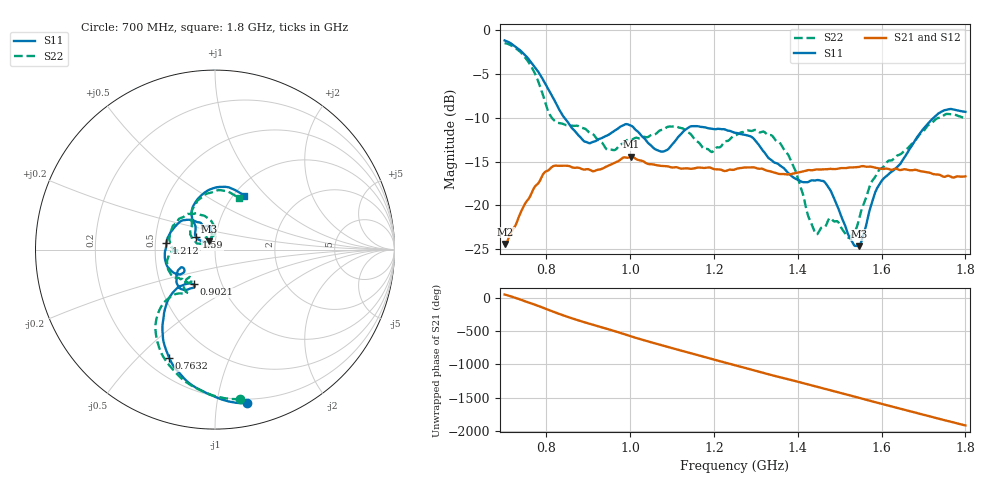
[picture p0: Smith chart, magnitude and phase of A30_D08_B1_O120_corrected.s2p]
! Created with skrf 1.9.0 (http://scikit-rf.org).
# Hz S RI R 50.0
!freq ReS11 ImS11 ReS21 ImS21 ReS12 ImS12 ReS22 ImS22
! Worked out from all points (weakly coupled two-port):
!   1601 points, 700 MHz to 1.8 GHz, reference 50 ohm
!   highest |S21| = -14.44 dB at 1.002 GHz (marker M1); lowest = -24.4 dB at 701.4 MHz (marker M2)
!   lowest |S11| = -24.6 dB at 1.546 GHz (marker M3), VSWR 1.12, Z = 46.4 + j4.4 ohm
!   |S11| at or under -10 dB: 842.7 MHz to 1.724 GHz (881.1 MHz wide, 68.7 % of centre)
!   |S22| runs from -23.7 to -1.5 dB; largest |S21 - S12| = 0.0036
!   S11 on the Smith chart (normalised r, x): 700 MHz: 0.17, -1.21; 763.2 MHz: 0.29, -0.62; 902.1 MHz: 0.74, -0.30; 1.212 GHz: 0.57, +0.05; 1.59 GHz: 0.80, +0.11; 1.8 GHz: 1.12, +0.76
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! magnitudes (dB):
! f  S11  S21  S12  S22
! 700 MHz  -1.2  -24.4  -24.2  -1.5
! 701.4 MHz  -1.2  -24.4  -24.0  -1.5
! 763.2 MHz  -3.7  -18.7  -18.7  -4.1
! 814.1 MHz  -7.6  -15.6  -15.6  -10.1
! 883.6 MHz  -12.4  -15.8  -15.7  -11.1
! 902.1 MHz  -12.9  -15.9  -15.9  -11.7
! 948.2 MHz  -11.9  -15.4  -15.5  -13.7
! 1.002 GHz  -10.9  -14.4  -14.5  -12.5
! 1.067 GHz  -13.7  -15.4  -15.4  -11.6
! 1.143 GHz  -11.0  -15.8  -15.8  -11.8
! 1.212 GHz  -11.3  -15.9  -15.9  -13.4
! 1.25 GHz  -11.7  -15.9  -15.8  -12.0
! 1.358 GHz  -15.5  -16.4  -16.4  -12.9
! 1.394 GHz  -16.9  -16.3  -16.3  -16.0
! 1.434 GHz  -17.1  -16.0  -15.9  -22.2
! 1.473 GHz  -17.9  -15.8  -15.8  -21.7
! 1.523 GHz  -23.6  -15.7  -15.7  -23.7
! 1.546 GHz  -24.6  -15.6  -15.6  -21.5
! 1.59 GHz  -17.9  -15.7  -15.7  -16.2
! 1.617 GHz  -16.4  -15.8  -15.8  -14.9
! 1.733 GHz  -9.6  -16.5  -16.5  -10.1
! 1.8 GHz  -9.3  -16.7  -16.7  -10.0
